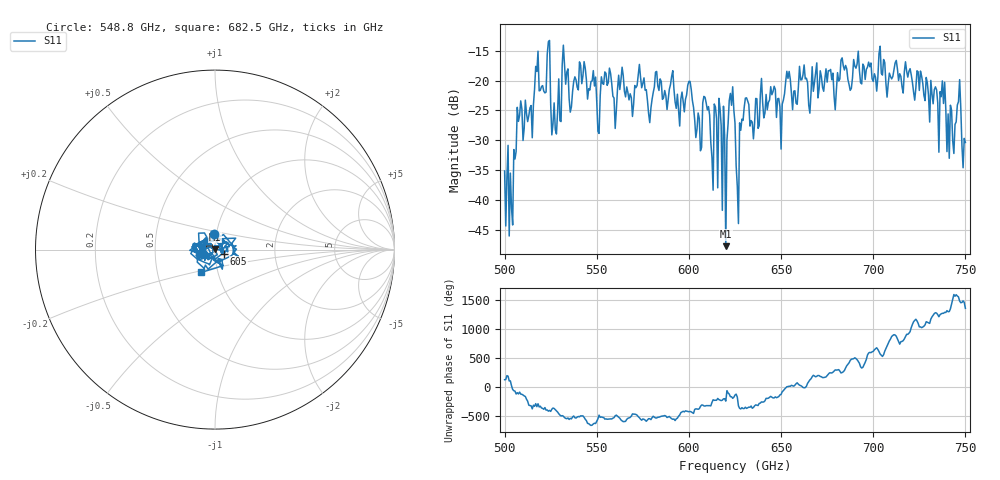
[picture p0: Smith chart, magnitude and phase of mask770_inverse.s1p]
!Created with skrf (http://scikit-rf.org).
# GHz S MA R 50.0
!freq magS11 angS11
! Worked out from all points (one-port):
!   401 points, 500 GHz to 750 GHz, reference 50 ohm
!   lowest |S11| = -47.8 dB at 620 GHz (marker M1), VSWR 1.01, Z = 49.8 + j0.37 ohm
!   |S11| at or under -10 dB: start of sweep to end of sweep
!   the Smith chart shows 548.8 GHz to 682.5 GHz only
!   S11 on the Smith chart (normalised r, x): 548.8 GHz: 0.97, +0.18; 605 GHz: 1.10, -0.05; 682.5 GHz: 0.83, -0.22
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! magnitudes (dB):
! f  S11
! 500 GHz  -35.2
! 503.8 GHz  -41.4
! 508.1 GHz  -25.9
! 513.8 GHz  -24.6
! 517.5 GHz  -18.5
! 523.8 GHz  -13.5
! 526.9 GHz  -23.8
! 531.2 GHz  -17.3
! 548.8 GHz  -20.9
! 562.5 GHz  -21.5
! 593.8 GHz  -22.3
! 600.6 GHz  -20.2
! 605 GHz  -25.4
! 609.4 GHz  -23.8
! 611.9 GHz  -30.4
! 620 GHz  -47.8
! 623.1 GHz  -24.2
! 625 GHz  -27.2
! 626.9 GHz  -44.0
! 631.2 GHz  -22.9
! 656.2 GHz  -24.9
! 682.5 GHz  -16.6
! 687.5 GHz  -21.7
! 718.8 GHz  -19.4
! 737.5 GHz  -20.1
! 742.5 GHz  -25.0
! 746.2 GHz  -23.6
! 750 GHz  -30.4
